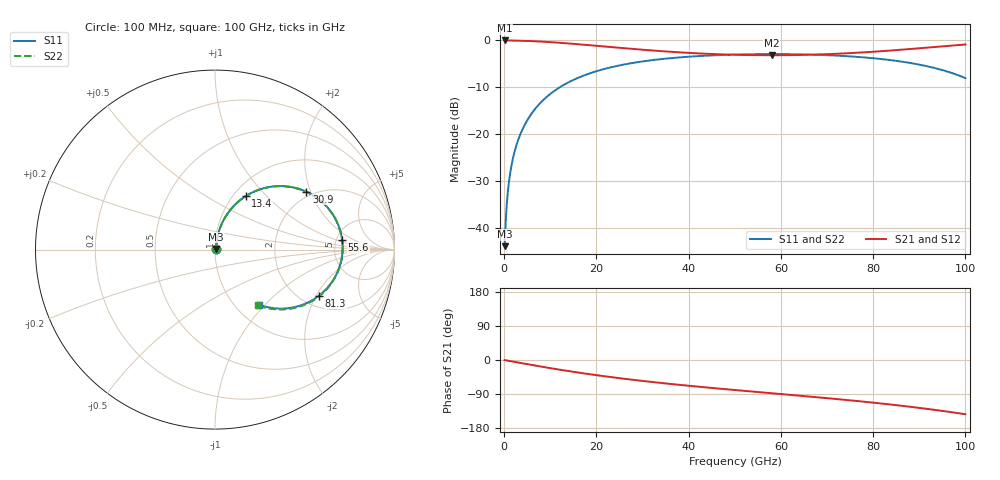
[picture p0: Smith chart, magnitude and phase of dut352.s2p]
! Touchstone file exported from HFSS 2026.1.0
!  File:  C:/ffzhzh/LocalFiles/Ansys_Project_Files/temp_train_RDL_352_1783503238_44152.aedt
!  Generated:  05:35:11 PM Jul  8, 2026
!  Design:  RDL
!  Project:  temp_train_RDL_352_1783503238_44152
! Variables:
!  h_bsmrdl = 2um
!  h_ox = 20um
!  h_rdl = 5um
!  h_sub = 80um
!  h_tmrdl = 2.37um
!  h_tsv = 80um
!  h_via = 3um
!  l_bsmrdl = 300um
!  l_sub = 891.75um
!  l_tmrdl = 491.75um
!  m_sub = 200um
!  pitch = 52.23um
!  r_tsv = 6um
!  s_tmrdl = 10um
!  w_bsmrdl = 18um
!  w_sub = 500um
!  w_tmrdl = 13.38um
!  x_tsv_center1 = 498.44um
!  x_tsv_center2 = 816.44um
!  x_tsv_center3 = 1321.57um
!  x_tsv_center4 = 1639.57um
!  x_tsv_center5 = 2144.7um
!  x_tsv_center6 = 2462.7um
# GHz S MA R 50.000000
! Terminal data exported
! Port[1] = TM_RDL1_1_T1
! Port[2] = TM_RDL1_1_T2
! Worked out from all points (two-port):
!   1000 points, 100 MHz to 100 GHz, reference 50 ohm
!   highest |S21| = -0.05 dB at 100 MHz (marker M1); lowest = -3.2 dB at 58 GHz (marker M2)
!   |S21| within 3 dB of the highest: start of sweep to 48.01 GHz; 67.96 GHz to end of sweep
!   lowest |S11| = -44.0 dB at 100 MHz (marker M3), VSWR 1.01, Z = 50.6 + j0.299 ohm
!   |S11| at or under -10 dB: start of sweep to 12.13 GHz
!   |S22| runs from -44.0 to -3.0 dB; largest |S21 - S12| = 1.6e-14
!   S11 on the Smith chart (normalised r, x): 100 MHz: 1.01, +0.01; 13.4 GHz: 1.14, +0.77; 30.9 GHz: 1.84, +1.87; 55.6 GHz: 5.64, +1.22; 81.3 GHz: 2.46, -2.11; 100 GHz: 1.28, -0.93
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0.1  0.006337 27.8  0.9944 -0.2  0.9944 -0.2  0.006337 27.8
! Gamma 0 0 0 0
! Port Impedance 50 0 50 0
0.9  0.02686 74.5  0.9934 -2.0  0.9934 -2.0  0.02686 74.4
1.4  0.04069 77.5  0.9926 -3.1  0.9926 -3.1  0.04069 77.5
2.3  0.06564 78.8  0.9909 -5.1  0.9909 -5.1  0.06564 78.8
3.5  0.09877 78.1  0.9879 -7.7  0.9879 -7.7  0.09877 78.0
5.2  0.145 75.5  0.9817 -11.4  0.9817 -11.4  0.145 75.5
7.4  0.2027 71.5  0.9709 -16.1  0.9709 -16.1  0.2027 71.5
10.1  0.2696 66.3  0.9537 -21.7  0.9537 -21.7  0.2696 66.3
13.4  0.3439 60.1  0.9285 -28.2  0.9285 -28.2  0.344 60.0
16.8  0.4116 54.0  0.8999 -34.5  0.8999 -34.5  0.4116 53.9
23.3  0.516 43.3  0.844 -45.4  0.844 -45.4  0.516 43.2
30.9  0.6023 32.4  0.7854 -56.5  0.7854 -56.5  0.6023 32.3
33.4  0.6237 29.2  0.7688 -59.8  0.7688 -59.8  0.6237 29.0
41.6  0.6748 19.3  0.7256 -69.8  0.7256 -69.8  0.6749 19.1
50.1  0.7031 10.0  0.6992 -79.3  0.6992 -79.3  0.7032 9.8
55.6  0.7106 4.3  0.6921 -85.2  0.6921 -85.2  0.7107 4.0
58  0.7114 1.8  0.6914 -87.7  0.6914 -87.7  0.7115 1.5
66.7  0.7018 -7.2  0.701 -97.0  0.701 -97.0  0.7018 -7.6
81.3  0.6336 -23.9  0.7606 -114.2  0.7606 -114.2  0.6337 -24.4
83.4  0.6169 -26.6  0.7736 -117.0  0.7736 -117.0  0.617 -27.1
92.3  0.5196 -39.0  0.8386 -129.9  0.8386 -129.9  0.5197 -39.7
100  0.3943 -51.2  0.9003 -143.1  0.9003 -143.1  0.3943 -52.2
